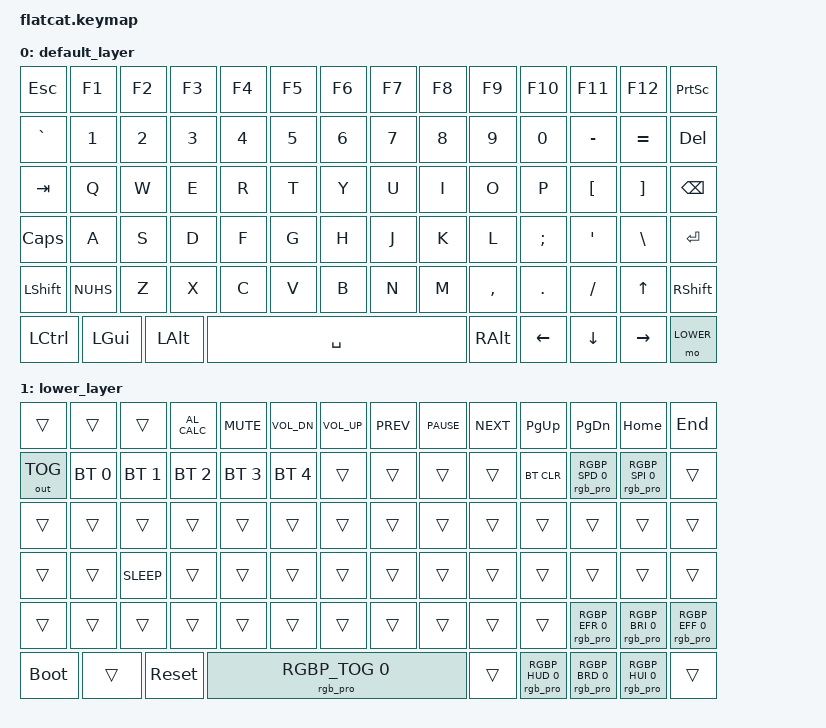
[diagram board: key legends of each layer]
#include <behaviors.dtsi>
#include <dt-bindings/zmk/keys.h>
#include <dt-bindings/zmk/bt.h>
#include <dt-bindings/zmk/outputs.h>
#include <dt-bindings/zmk/ext_power.h>

/* zmk-rgb-flatcat behavior commands */
#define RGBP_TOG 0
#define RGBP_ON  1
#define RGBP_OFF 2
#define RGBP_EFF 3
#define RGBP_EFR 4
#define RGBP_HUI 5
#define RGBP_HUD 6
#define RGBP_BRI 7
#define RGBP_BRD 8
#define RGBP_SPI 9
#define RGBP_SPD 10

#define DEFAULT  0
#define LOWER    1

/* =============================== layout ===============================
*  ESC  F1   F2   F3   F4   F5   F6   F7   F8   F9   F10  F11  F12  PSCRN
*  `    1    2    3    4    5    6    7    8    9    0    -    =    DEL
*  TAB  Q    W    E    R    T    Y    U    I    O    P    [    ]    BKSP
*  CAPS A    S    D    F    G    H    J    K    L    ;    '    \    ENTER
*  LSFT NUHS Z    X    C    V    B    N    M    ,    .    /    UP   RSFT
*  LCTL LGUI LALT           SPACE               RALT LEFT DOWN RGHT LOWER
*/

/ {
    keymap {
        compatible = "zmk,keymap";

        default_layer {
            bindings = <
                &kp ESC    &kp F1   &kp F2   &kp F3   &kp F4    &kp F5    &kp F6   &kp F7   &kp F8    &kp F9    &kp F10   &kp F11   &kp F12   &kp PSCRN
                &kp GRAVE  &kp N1   &kp N2   &kp N3   &kp N4    &kp N5    &kp N6   &kp N7   &kp N8    &kp N9    &kp N0    &kp MINUS &kp EQUAL &kp DEL
                &kp TAB    &kp Q    &kp W    &kp E    &kp R     &kp T     &kp Y    &kp U    &kp I     &kp O     &kp P     &kp LBKT  &kp RBKT  &kp BKSP
                &kp CLCK   &kp A    &kp S    &kp D    &kp F     &kp G     &kp H    &kp J    &kp K     &kp L     &kp SEMI  &kp SQT   &kp BSLH  &kp ENTER
                &kp LSHFT  &kp NUHS &kp Z    &kp X    &kp C     &kp V     &kp B    &kp N    &kp M     &kp COMMA &kp DOT   &kp FSLH  &kp UP    &kp RSHFT
                &kp LCTRL  &kp LGUI &kp LALT                              &kp SPACE                             &kp RALT  &kp LEFT  &kp DOWN  &kp RIGHT &mo LOWER
            >;
        };

        lower_layer {
            bindings = <
                &trans         &trans       &trans       &kp C_AL_CALC &kp C_MUTE   &kp C_VOL_DN &kp C_VOL_UP &kp C_PREV &kp C_PAUSE &kp C_NEXT &kp PG_UP  &kp PG_DN           &kp HOME            &kp END
                &out OUT_TOG   &bt BT_SEL 0 &bt BT_SEL 1 &bt BT_SEL 2  &bt BT_SEL 3 &bt BT_SEL 4 &trans       &trans     &trans      &trans     &bt BT_CLR &rgb_pro RGBP_SPD 0 &rgb_pro RGBP_SPI 0 &trans
                &trans         &trans       &trans       &trans        &trans       &trans       &trans       &trans     &trans      &trans     &trans     &trans              &trans              &trans
                &trans         &trans       &kp K_SLEEP  &trans        &trans       &trans       &trans       &trans     &trans      &trans     &trans     &trans              &trans              &trans
                &trans         &trans       &trans       &trans        &trans       &trans       &trans       &trans     &trans      &trans     &trans     &rgb_pro RGBP_EFR 0 &rgb_pro RGBP_BRI 0 &rgb_pro RGBP_EFF 0
                &bootloader    &trans       &sys_reset                                           &rgb_pro RGBP_TOG 0                            &trans     &rgb_pro RGBP_HUD 0 &rgb_pro RGBP_BRD 0 &rgb_pro RGBP_HUI 0 &trans
            >;
        };
    };
};
